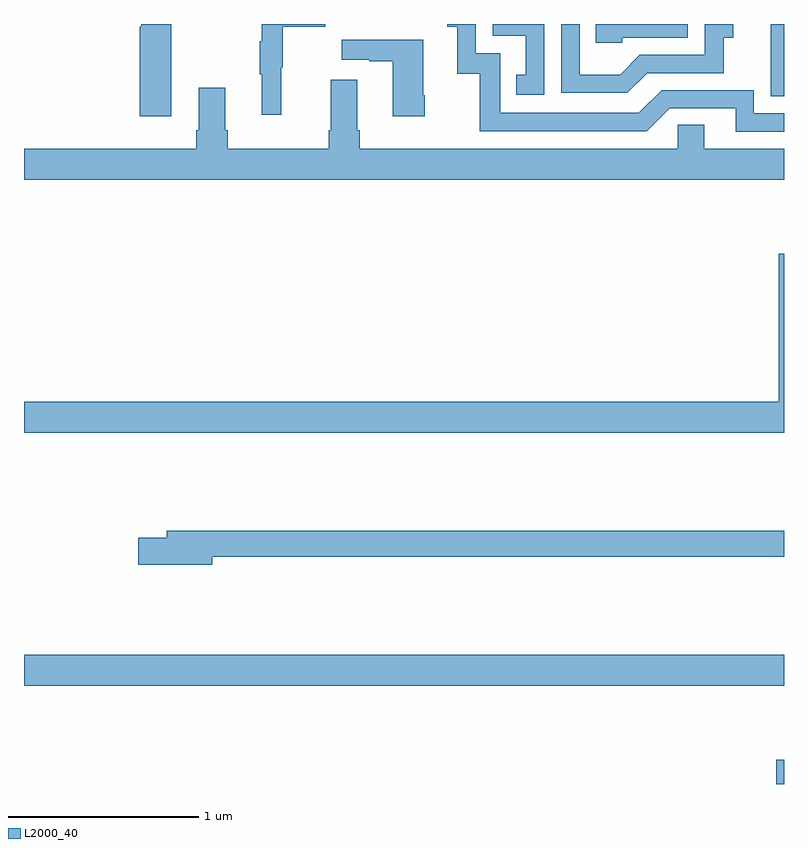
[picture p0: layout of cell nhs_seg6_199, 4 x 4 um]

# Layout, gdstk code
import gdstk
lib = gdstk.Library(unit=1e-6, precision=1e-09)
def R(c, l, rs):  # rectangles x0, y0, x1, y1
    for r in rs: c.add(gdstk.rectangle(r[:2], r[2:], *l))
def P(c, l, *ps):  # polygons
    for p in ps: c.add(gdstk.Polygon(p, *l))
L2000_40 = (2000, 40)

nhs_seg6_199 = lib.new_cell('nhs_seg6_199')
R(nhs_seg6_199, L2000_40, [(124.958,933.5,125,933.628), (121,934.016,125,934.18)])
P(nhs_seg6_199, L2000_40, [(122.354,937.272),(122.362,937.272),(122.362,937.486),(122.585,937.486),(122.585,937.5),(122.252,937.5),(122.252,937.409),(122.241,937.409),(122.241,937.235),(122.252,937.235),(122.252,937.023),(122.354,937.023)],
  [(124.149,937.428),(124.494,937.428),(124.494,937.5),(124.009,937.5),(124.009,937.401),(124.149,937.401)],
  [(125,937.5),(124.931,937.5),(124.931,937.327),(124.93,937.327),(124.93,937.121),(125,937.121)],
  [(125,937.029),(124.842,937.029),(124.842,937.152),(124.356,937.152),(124.236,937.032),(123.507,937.032),(123.507,937.347),(123.378,937.347),(123.378,937.5),(123.228,937.5),(123.228,937.485),(123.281,937.485),(123.281,937.239),(123.399,937.239),(123.399,936.936),(124.278,936.936),(124.398,937.056),(124.745,937.056),(124.745,936.933),(125,936.933)],
  [(123.738,937.5),(123.468,937.5),(123.468,937.437),(123.641,937.437),(123.641,937.233),(123.592,937.233),(123.592,937.128),(123.738,937.128)],
  [(124.279,937.242),(124.683,937.242),(124.683,937.427),(124.732,937.427),(124.732,937.5),(124.584,937.5),(124.584,937.338),(124.242,937.338),(124.138,937.234),(123.924,937.234),(123.924,937.5),(123.828,937.5),(123.828,937.137),(124.174,937.137)],
  [(121.774,937.5),(121.616,937.5),(121.616,937.485),(121.61,937.485),(121.61,937.014),(121.774,937.014)],
  [(123.108,937.126),(123.1,937.126),(123.1,937.417),(122.673,937.417),(122.673,937.313),(122.816,937.313),(122.816,937.303),(122.942,937.303),(122.942,937.014),(123.108,937.014)],
  [(125,936.844),(124.579,936.844),(124.579,936.971),(124.44,936.971),(124.44,936.844),(122.768,936.844),(122.768,936.94),(122.755,936.94),(122.755,937.207),(122.615,937.207),(122.615,936.94),(122.603,936.94),(122.603,936.844),(122.072,936.844),(122.072,936.94),(122.059,936.94),(122.059,937.165),(121.919,937.165),(121.919,936.94),(121.907,936.94),(121.907,936.844),(121,936.844),(121,936.68),(125,936.68)],
  [(125,936.292),(124.973,936.292),(124.973,935.512),(121,935.512),(121,935.348),(125,935.348)],
  [(121.99,934.696),(125,934.696),(125,934.832),(121.751,934.832),(121.751,934.796),(121.602,934.796),(121.602,934.654),(121.99,934.654)])

lib.write_gds('nhs_seg6_199.gds')
